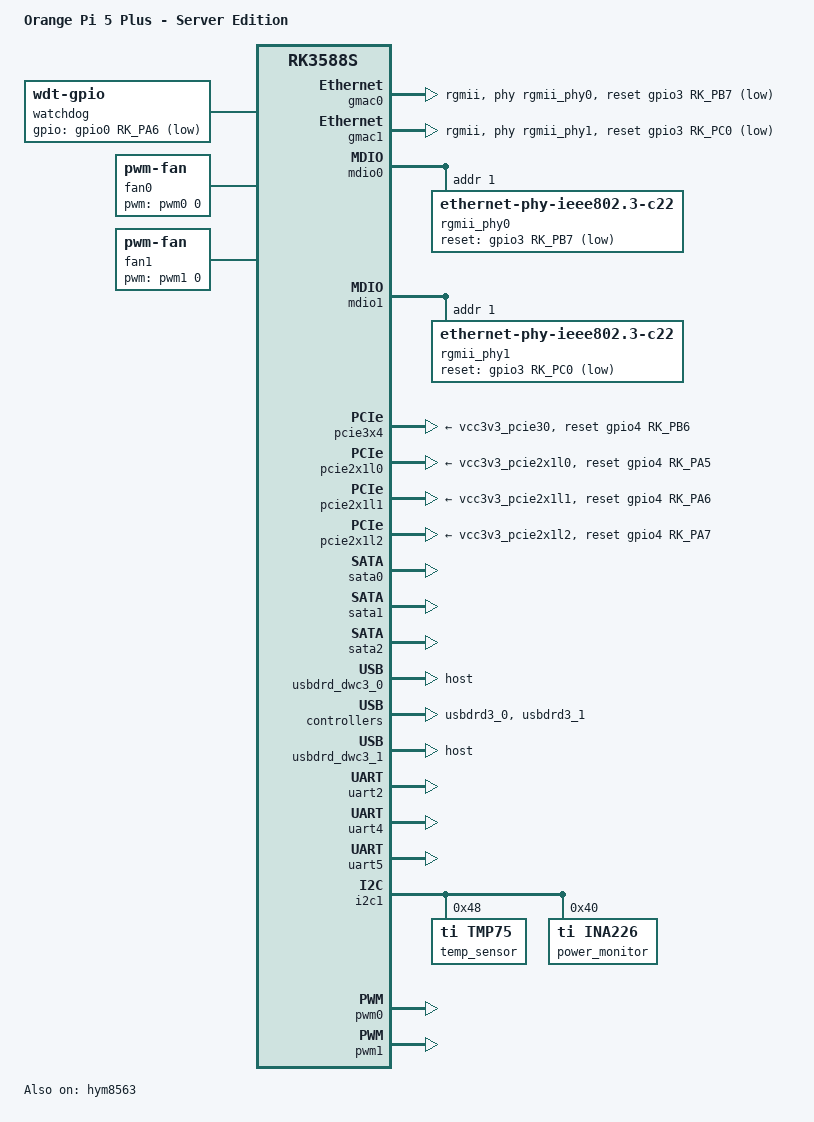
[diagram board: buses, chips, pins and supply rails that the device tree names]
/dts-v1/;
#include <dt-bindings/gpio/gpio.h>
#include <dt-bindings/pinctrl/rockchip.h>
#include "rk3588s.dtsi"
#include "rk3588s-orangepi-5.dtsi"

/ {
    model = "Orange Pi 5 Plus - Server Edition";
    compatible = "xunlong,orangepi-5-plus", "rockchip,rk3588s";
    
    metadata {
        build-type = "server";
        kernel-version = "6.6";
        distro-name = "debian";
        distro-version = "12";
        configuration = "headless";
    };

    chosen {
        bootargs = "console=ttyS2,1500000n8 root=/dev/mmcblk0p2 rootwait rw net.ifnames=0";
    };

    /* Server specific configurations */
    server-config {
        compatible = "server,config";
        headless-mode = "enabled";
        watchdog-enabled;
        auto-reboot-on-panic;
        network-priority = "high";
    };

    /* Watchdog for server reliability */
    watchdog {
        compatible = "linux,wdt-gpio";
        gpios = <&gpio0 RK_PA6 GPIO_ACTIVE_LOW>;
        hw_algo = "toggle";
        hw_margin_ms = <1600>;
        always-running;
    };
};

/* Dual Gigabit Ethernet configuration */
&gmac0 {
    phy-mode = "rgmii";
    clock_in_out = "output";
    snps,reset-gpio = <&gpio3 RK_PB7 GPIO_ACTIVE_LOW>;
    snps,reset-active-low;
    snps,reset-delays-us = <0 10000 100000>;
    assigned-clocks = <&cru SCLK_GMAC0_RX_TX>, <&cru SCLK_GMAC0>;
    assigned-clock-parents = <&cru SCLK_GMAC0_RGMII_SPEED>;
    pinctrl-names = "default";
    pinctrl-0 = <&gmac0_miim
                 &gmac0_tx_bus2
                 &gmac0_rx_bus2
                 &gmac0_rgmii_clk
                 &gmac0_rgmii_bus>;
    tx_delay = <0x3c>;
    rx_delay = <0x2f>;
    phy-handle = <&rgmii_phy0>;
    status = "okay";
};

&gmac1 {
    phy-mode = "rgmii";
    clock_in_out = "output";
    snps,reset-gpio = <&gpio3 RK_PC0 GPIO_ACTIVE_LOW>;
    snps,reset-active-low;
    snps,reset-delays-us = <0 10000 100000>;
    assigned-clocks = <&cru SCLK_GMAC1_RX_TX>, <&cru SCLK_GMAC1>;
    assigned-clock-parents = <&cru SCLK_GMAC1_RGMII_SPEED>;
    pinctrl-names = "default";
    pinctrl-0 = <&gmac1_miim
                 &gmac1_tx_bus2
                 &gmac1_rx_bus2
                 &gmac1_rgmii_clk
                 &gmac1_rgmii_bus>;
    tx_delay = <0x3c>;
    rx_delay = <0x2f>;
    phy-handle = <&rgmii_phy1>;
    status = "okay";
};

&mdio0 {
    rgmii_phy0: phy@1 {
        compatible = "ethernet-phy-ieee802.3-c22";
        reg = <0x1>;
        reset-assert-us = <20000>;
        reset-deassert-us = <100000>;
        reset-gpios = <&gpio3 RK_PB7 GPIO_ACTIVE_LOW>;
    };
};

&mdio1 {
    rgmii_phy1: phy@1 {
        compatible = "ethernet-phy-ieee802.3-c22";
        reg = <0x1>;
        reset-assert-us = <20000>;
        reset-deassert-us = <100000>;
        reset-gpios = <&gpio3 RK_PC0 GPIO_ACTIVE_LOW>;
    };
};

/* PCIe for NVMe storage expansion */
&pcie3x4 {
    reset-gpios = <&gpio4 RK_PB6 GPIO_ACTIVE_HIGH>;
    vpcie3v3-supply = <&vcc3v3_pcie30>;
    status = "okay";
};

&pcie2x1l0 {
    reset-gpios = <&gpio4 RK_PA5 GPIO_ACTIVE_HIGH>;
    vpcie3v3-supply = <&vcc3v3_pcie2x1l0>;
    status = "okay";
};

&pcie2x1l1 {
    reset-gpios = <&gpio4 RK_PA6 GPIO_ACTIVE_HIGH>;
    vpcie3v3-supply = <&vcc3v3_pcie2x1l1>;
    status = "okay";
};

&pcie2x1l2 {
    reset-gpios = <&gpio4 RK_PA7 GPIO_ACTIVE_HIGH>;
    vpcie3v3-supply = <&vcc3v3_pcie2x1l2>;
    status = "okay";
};

/* SATA for storage arrays */
&sata0 {
    status = "okay";
};

&sata1 {
    status = "okay";
};

&sata2 {
    status = "okay";
};

/* USB 3.0 for external backup drives */
&usbdrd_dwc3_0 {
    dr_mode = "host";
    status = "okay";
};

&usbdrd3_0 {
    status = "okay";
};

&usbdrd_dwc3_1 {
    dr_mode = "host";
    status = "okay";
};

&usbdrd3_1 {
    status = "okay";
};

/* Serial console for server management */
&uart2 {
    status = "okay";
};

/* Additional UARTs for serial devices */
&uart4 {
    status = "okay";
    pinctrl-names = "default";
    pinctrl-0 = <&uart4m0_xfer>;
};

&uart5 {
    status = "okay";
    pinctrl-names = "default";
    pinctrl-0 = <&uart5m0_xfer>;
};

/* I2C for server monitoring sensors */
&i2c1 {
    status = "okay";
    
    /* Temperature sensor */
    temp_sensor: tmp75@48 {
        compatible = "ti,tmp75";
        reg = <0x48>;
    };
    
    /* Voltage/Current monitor */
    power_monitor: ina226@40 {
        compatible = "ti,ina226";
        reg = <0x40>;
        shunt-resistor = <10000>;
    };
};

/* PWM for fan control */
&pwm0 {
    status = "okay";
};

&pwm1 {
    status = "okay";
};

/* Fan control for thermal management */
/ {
    fan0: pwm-fan {
        compatible = "pwm-fan";
        pwms = <&pwm0 0 50000 0>;
        #cooling-cells = <2>;
        cooling-levels = <0 64 128 192 255>;
    };
    
    fan1: pwm-fan-1 {
        compatible = "pwm-fan";
        pwms = <&pwm1 0 50000 0>;
        #cooling-cells = <2>;
        cooling-levels = <0 64 128 192 255>;
    };
};

/* Thermal zones for server monitoring */
&thermal_zones {
    soc-thermal {
        polling-delay-passive = <100>;
        polling-delay = <1000>;
        
        trips {
            soc_alert0: trip-point@0 {
                temperature = <50000>;
                hysteresis = <2000>;
                type = "active";
            };
            soc_alert1: trip-point@1 {
                temperature = <60000>;
                hysteresis = <2000>;
                type = "active";
            };
            soc_crit: trip-point@2 {
                temperature = <95000>;
                hysteresis = <2000>;
                type = "critical";
            };
        };
        
        cooling-maps {
            map0 {
                trip = <&soc_alert0>;
                cooling-device = <&fan0 0 1>;
            };
            map1 {
                trip = <&soc_alert1>;
                cooling-device = <&fan0 1 2>,
                                <&fan1 1 2>;
            };
        };
    };
};

/* RTC for time keeping */
&hym8563 {
    status = "okay";
};

/* Disable unused peripherals for power saving */
&hdmi {
    status = "disabled";
};

&hdmi_in_vp0 {
    status = "disabled";
};

&hdmiphy {
    status = "disabled";
};

&display_subsystem {
    status = "disabled";
};

&vop {
    status = "disabled";
};

&vop_mmu {
    status = "disabled";
};

&gpu {
    status = "disabled";
};

/* CPU frequency scaling for power efficiency */
&cpu_l0 {
    operating-points-v2 = <&cluster0_opp_table>;
    cpu-idle-states = <&CPU_SLEEP &CLUSTER_SLEEP>;
};

&cpu_b0 {
    operating-points-v2 = <&cluster1_opp_table>;
    cpu-idle-states = <&CPU_SLEEP &CLUSTER_SLEEP>;
};

&cpu_b2 {
    operating-points-v2 = <&cluster2_opp_table>;
    cpu-idle-states = <&CPU_SLEEP &CLUSTER_SLEEP>;
};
